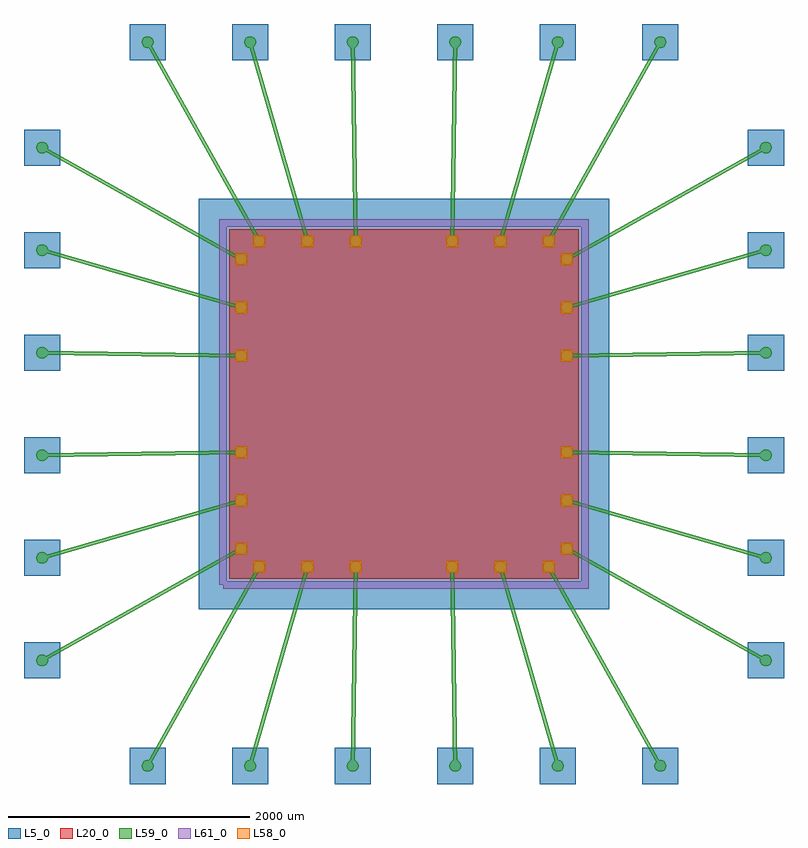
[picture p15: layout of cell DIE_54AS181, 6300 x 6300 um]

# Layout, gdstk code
import gdstk
lib = gdstk.Library(unit=1e-6, precision=1e-09)
def R(c, l, rs):  # rectangles x0, y0, x1, y1
    for r in rs: c.add(gdstk.rectangle(r[:2], r[2:], *l))
def A(c, l, x, y, w, h, nx, ny, dx, dy):  # array of equal rectangles
    R(c, l, [(x+i*dx, y+j*dy, x+i*dx+w, y+j*dy+h) for i in range(nx) for j in range(ny)])
def P(c, l, *ps):  # polygons
    for p in ps: c.add(gdstk.Polygon(p, *l))
L5_0 = (5, 0)
L20_0 = (20, 0)
L58_0 = (58, 0)
L59_0 = (59, 0)
L61_0 = (61, 0)

die_54as181 = lib.new_cell('DIE_54AS181')
A(die_54as181, L5_0, -2275, -3150, 300, 300, 6, 2, 850, 6000)
A(die_54as181, L5_0, -3150, -2275, 300, 300, 1, 6, 0, 850)
A(die_54as181, L5_0, 2850, -2275, 300, 300, 1, 6, 0, 850)
R(die_54as181, L5_0, [(-1700,-1700,1700,1700)])
R(die_54as181, L20_0, [(-1450,-1450,1450,1450)])
A(die_54as181, L58_0, -1250, -1400, 100, 100, 3, 2, 400, 2700)
A(die_54as181, L58_0, 350, -1400, 100, 100, 3, 2, 400, 2700)
A(die_54as181, L58_0, -1400, -1250, 100, 100, 1, 3, 0, 400)
A(die_54as181, L58_0, 1300, -1250, 100, 100, 1, 3, 0, 400)
A(die_54as181, L58_0, -1400, 350, 100, 100, 1, 3, 0, 400)
A(die_54as181, L58_0, 1300, 350, 100, 100, 1, 3, 0, 400)
P(die_54as181, L59_0, [(-350,1350),(-354,1369),(-365,1385),(-381,1396),(-400,1400),(-419,1396),(-435,1385),(-446,1369),(-450,1350),(-446,1331),(-435,1315),(-419,1304),(-400,1300),(-381,1304),(-365,1315),(-354,1331)],
  [(-375,3000),(-379,3019),(-390,3035),(-406,3046),(-425,3050),(-444,3046),(-460,3035),(-471,3019),(-475,3000),(-471,2981),(-460,2965),(-444,2954),(-425,2950),(-406,2954),(-390,2965),(-379,2981)],
  [(-750,1350),(-754,1369),(-765,1385),(-781,1396),(-800,1400),(-819,1396),(-835,1385),(-846,1369),(-850,1350),(-846,1331),(-835,1315),(-819,1304),(-800,1300),(-781,1304),(-765,1315),(-754,1331)],
  [(-1225,3000),(-1229,3019),(-1240,3035),(-1256,3046),(-1275,3050),(-1294,3046),(-1310,3035),(-1321,3019),(-1325,3000),(-1321,2981),(-1310,2965),(-1294,2954),(-1275,2950),(-1256,2954),(-1240,2965),(-1229,2981)],
  [(-1150,1350),(-1154,1369),(-1165,1385),(-1181,1396),(-1200,1400),(-1219,1396),(-1235,1385),(-1246,1369),(-1250,1350),(-1246,1331),(-1235,1315),(-1219,1304),(-1200,1300),(-1181,1304),(-1165,1315),(-1154,1331)],
  [(-2075,3000),(-2079,3019),(-2090,3035),(-2106,3046),(-2125,3050),(-2144,3046),(-2160,3035),(-2171,3019),(-2175,3000),(-2171,2981),(-2160,2965),(-2144,2954),(-2125,2950),(-2106,2954),(-2090,2965),(-2079,2981)],
  [(-1300,1200),(-1304,1219),(-1315,1235),(-1331,1246),(-1350,1250),(-1369,1246),(-1385,1235),(-1396,1219),(-1400,1200),(-1396,1181),(-1385,1165),(-1369,1154),(-1350,1150),(-1331,1154),(-1315,1165),(-1304,1181)],
  [(-2950,2125),(-2954,2144),(-2965,2160),(-2981,2171),(-3000,2175),(-3019,2171),(-3035,2160),(-3046,2144),(-3050,2125),(-3046,2106),(-3035,2090),(-3019,2079),(-3000,2075),(-2981,2079),(-2965,2090),(-2954,2106)],
  [(-1300,800),(-1304,819),(-1315,835),(-1331,846),(-1350,850),(-1369,846),(-1385,835),(-1396,819),(-1400,800),(-1396,781),(-1385,765),(-1369,754),(-1350,750),(-1331,754),(-1315,765),(-1304,781)],
  [(-2950,1275),(-2954,1294),(-2965,1310),(-2981,1321),(-3000,1325),(-3019,1321),(-3035,1310),(-3046,1294),(-3050,1275),(-3046,1256),(-3035,1240),(-3019,1229),(-3000,1225),(-2981,1229),(-2965,1240),(-2954,1256)],
  [(-1300,400),(-1304,419),(-1315,435),(-1331,446),(-1350,450),(-1369,446),(-1385,435),(-1396,419),(-1400,400),(-1396,381),(-1385,365),(-1369,354),(-1350,350),(-1331,354),(-1315,365),(-1304,381)],
  [(-2950,425),(-2954,444),(-2965,460),(-2981,471),(-3000,475),(-3019,471),(-3035,460),(-3046,444),(-3050,425),(-3046,406),(-3035,390),(-3019,379),(-3000,375),(-2981,379),(-2965,390),(-2954,406)],
  [(-1300,-400),(-1304,-381),(-1315,-365),(-1331,-354),(-1350,-350),(-1369,-354),(-1385,-365),(-1396,-381),(-1400,-400),(-1396,-419),(-1385,-435),(-1369,-446),(-1350,-450),(-1331,-446),(-1315,-435),(-1304,-419)],
  [(-2950,-425),(-2954,-406),(-2965,-390),(-2981,-379),(-3000,-375),(-3019,-379),(-3035,-390),(-3046,-406),(-3050,-425),(-3046,-444),(-3035,-460),(-3019,-471),(-3000,-475),(-2981,-471),(-2965,-460),(-2954,-444)],
  [(-1300,-800),(-1304,-781),(-1315,-765),(-1331,-754),(-1350,-750),(-1369,-754),(-1385,-765),(-1396,-781),(-1400,-800),(-1396,-819),(-1385,-835),(-1369,-846),(-1350,-850),(-1331,-846),(-1315,-835),(-1304,-819)],
  [(-2950,-1275),(-2954,-1256),(-2965,-1240),(-2981,-1229),(-3000,-1225),(-3019,-1229),(-3035,-1240),(-3046,-1256),(-3050,-1275),(-3046,-1294),(-3035,-1310),(-3019,-1321),(-3000,-1325),(-2981,-1321),(-2965,-1310),(-2954,-1294)],
  [(-1300,-1200),(-1304,-1181),(-1315,-1165),(-1331,-1154),(-1350,-1150),(-1369,-1154),(-1385,-1165),(-1396,-1181),(-1400,-1200),(-1396,-1219),(-1385,-1235),(-1369,-1246),(-1350,-1250),(-1331,-1246),(-1315,-1235),(-1304,-1219)],
  [(-2950,-2125),(-2954,-2106),(-2965,-2090),(-2981,-2079),(-3000,-2075),(-3019,-2079),(-3035,-2090),(-3046,-2106),(-3050,-2125),(-3046,-2144),(-3035,-2160),(-3019,-2171),(-3000,-2175),(-2981,-2171),(-2965,-2160),(-2954,-2144)],
  [(-1150,-1350),(-1154,-1331),(-1165,-1315),(-1181,-1304),(-1200,-1300),(-1219,-1304),(-1235,-1315),(-1246,-1331),(-1250,-1350),(-1246,-1369),(-1235,-1385),(-1219,-1396),(-1200,-1400),(-1181,-1396),(-1165,-1385),(-1154,-1369)],
  [(-2075,-3000),(-2079,-2981),(-2090,-2965),(-2106,-2954),(-2125,-2950),(-2144,-2954),(-2160,-2965),(-2171,-2981),(-2175,-3000),(-2171,-3019),(-2160,-3035),(-2144,-3046),(-2125,-3050),(-2106,-3046),(-2090,-3035),(-2079,-3019)],
  [(-750,-1350),(-754,-1331),(-765,-1315),(-781,-1304),(-800,-1300),(-819,-1304),(-835,-1315),(-846,-1331),(-850,-1350),(-846,-1369),(-835,-1385),(-819,-1396),(-800,-1400),(-781,-1396),(-765,-1385),(-754,-1369)],
  [(-1225,-3000),(-1229,-2981),(-1240,-2965),(-1256,-2954),(-1275,-2950),(-1294,-2954),(-1310,-2965),(-1321,-2981),(-1325,-3000),(-1321,-3019),(-1310,-3035),(-1294,-3046),(-1275,-3050),(-1256,-3046),(-1240,-3035),(-1229,-3019)],
  [(-350,-1350),(-354,-1331),(-365,-1315),(-381,-1304),(-400,-1300),(-419,-1304),(-435,-1315),(-446,-1331),(-450,-1350),(-446,-1369),(-435,-1385),(-419,-1396),(-400,-1400),(-381,-1396),(-365,-1385),(-354,-1369)],
  [(-375,-3000),(-379,-2981),(-390,-2965),(-406,-2954),(-425,-2950),(-444,-2954),(-460,-2965),(-471,-2981),(-475,-3000),(-471,-3019),(-460,-3035),(-444,-3046),(-425,-3050),(-406,-3046),(-390,-3035),(-379,-3019)],
  [(450,-1350),(446,-1331),(435,-1315),(419,-1304),(400,-1300),(381,-1304),(365,-1315),(354,-1331),(350,-1350),(354,-1369),(365,-1385),(381,-1396),(400,-1400),(419,-1396),(435,-1385),(446,-1369)],
  [(475,-3000),(471,-2981),(460,-2965),(444,-2954),(425,-2950),(406,-2954),(390,-2965),(379,-2981),(375,-3000),(379,-3019),(390,-3035),(406,-3046),(425,-3050),(444,-3046),(460,-3035),(471,-3019)],
  [(850,-1350),(846,-1331),(835,-1315),(819,-1304),(800,-1300),(781,-1304),(765,-1315),(754,-1331),(750,-1350),(754,-1369),(765,-1385),(781,-1396),(800,-1400),(819,-1396),(835,-1385),(846,-1369)],
  [(1325,-3000),(1321,-2981),(1310,-2965),(1294,-2954),(1275,-2950),(1256,-2954),(1240,-2965),(1229,-2981),(1225,-3000),(1229,-3019),(1240,-3035),(1256,-3046),(1275,-3050),(1294,-3046),(1310,-3035),(1321,-3019)],
  [(1250,-1350),(1246,-1331),(1235,-1315),(1219,-1304),(1200,-1300),(1181,-1304),(1165,-1315),(1154,-1331),(1150,-1350),(1154,-1369),(1165,-1385),(1181,-1396),(1200,-1400),(1219,-1396),(1235,-1385),(1246,-1369)],
  [(2175,-3000),(2171,-2981),(2160,-2965),(2144,-2954),(2125,-2950),(2106,-2954),(2090,-2965),(2079,-2981),(2075,-3000),(2079,-3019),(2090,-3035),(2106,-3046),(2125,-3050),(2144,-3046),(2160,-3035),(2171,-3019)],
  [(1400,-1200),(1396,-1181),(1385,-1165),(1369,-1154),(1350,-1150),(1331,-1154),(1315,-1165),(1304,-1181),(1300,-1200),(1304,-1219),(1315,-1235),(1331,-1246),(1350,-1250),(1369,-1246),(1385,-1235),(1396,-1219)],
  [(3050,-2125),(3046,-2106),(3035,-2090),(3019,-2079),(3000,-2075),(2981,-2079),(2965,-2090),(2954,-2106),(2950,-2125),(2954,-2144),(2965,-2160),(2981,-2171),(3000,-2175),(3019,-2171),(3035,-2160),(3046,-2144)],
  [(1400,-800),(1396,-781),(1385,-765),(1369,-754),(1350,-750),(1331,-754),(1315,-765),(1304,-781),(1300,-800),(1304,-819),(1315,-835),(1331,-846),(1350,-850),(1369,-846),(1385,-835),(1396,-819)],
  [(3050,-1275),(3046,-1256),(3035,-1240),(3019,-1229),(3000,-1225),(2981,-1229),(2965,-1240),(2954,-1256),(2950,-1275),(2954,-1294),(2965,-1310),(2981,-1321),(3000,-1325),(3019,-1321),(3035,-1310),(3046,-1294)],
  [(1400,-400),(1396,-381),(1385,-365),(1369,-354),(1350,-350),(1331,-354),(1315,-365),(1304,-381),(1300,-400),(1304,-419),(1315,-435),(1331,-446),(1350,-450),(1369,-446),(1385,-435),(1396,-419)],
  [(3050,-425),(3046,-406),(3035,-390),(3019,-379),(3000,-375),(2981,-379),(2965,-390),(2954,-406),(2950,-425),(2954,-444),(2965,-460),(2981,-471),(3000,-475),(3019,-471),(3035,-460),(3046,-444)],
  [(1400,400),(1396,419),(1385,435),(1369,446),(1350,450),(1331,446),(1315,435),(1304,419),(1300,400),(1304,381),(1315,365),(1331,354),(1350,350),(1369,354),(1385,365),(1396,381)],
  [(3050,425),(3046,444),(3035,460),(3019,471),(3000,475),(2981,471),(2965,460),(2954,444),(2950,425),(2954,406),(2965,390),(2981,379),(3000,375),(3019,379),(3035,390),(3046,406)],
  [(1400,800),(1396,819),(1385,835),(1369,846),(1350,850),(1331,846),(1315,835),(1304,819),(1300,800),(1304,781),(1315,765),(1331,754),(1350,750),(1369,754),(1385,765),(1396,781)],
  [(3050,1275),(3046,1294),(3035,1310),(3019,1321),(3000,1325),(2981,1321),(2965,1310),(2954,1294),(2950,1275),(2954,1256),(2965,1240),(2981,1229),(3000,1225),(3019,1229),(3035,1240),(3046,1256)],
  [(1400,1200),(1396,1219),(1385,1235),(1369,1246),(1350,1250),(1331,1246),(1315,1235),(1304,1219),(1300,1200),(1304,1181),(1315,1165),(1331,1154),(1350,1150),(1369,1154),(1385,1165),(1396,1181)],
  [(3050,2125),(3046,2144),(3035,2160),(3019,2171),(3000,2175),(2981,2171),(2965,2160),(2954,2144),(2950,2125),(2954,2106),(2965,2090),(2981,2079),(3000,2075),(3019,2079),(3035,2090),(3046,2106)],
  [(1250,1350),(1246,1369),(1235,1385),(1219,1396),(1200,1400),(1181,1396),(1165,1385),(1154,1369),(1150,1350),(1154,1331),(1165,1315),(1181,1304),(1200,1300),(1219,1304),(1235,1315),(1246,1331)],
  [(2175,3000),(2171,3019),(2160,3035),(2144,3046),(2125,3050),(2106,3046),(2090,3035),(2079,3019),(2075,3000),(2079,2981),(2090,2965),(2106,2954),(2125,2950),(2144,2954),(2160,2965),(2171,2981)],
  [(850,1350),(846,1369),(835,1385),(819,1396),(800,1400),(781,1396),(765,1385),(754,1369),(750,1350),(754,1331),(765,1315),(781,1304),(800,1300),(819,1304),(835,1315),(846,1331)],
  [(1325,3000),(1321,3019),(1310,3035),(1294,3046),(1275,3050),(1256,3046),(1240,3035),(1229,3019),(1225,3000),(1229,2981),(1240,2965),(1256,2954),(1275,2950),(1294,2954),(1310,2965),(1321,2981)],
  [(450,1350),(446,1369),(435,1385),(419,1396),(400,1400),(381,1396),(365,1385),(354,1369),(350,1350),(354,1331),(365,1315),(381,1304),(400,1300),(419,1304),(435,1315),(446,1331)],
  [(475,3000),(471,3019),(460,3035),(444,3046),(425,3050),(406,3046),(390,3035),(379,3019),(375,3000),(379,2981),(390,2965),(406,2954),(425,2950),(444,2954),(460,2965),(471,2981)])
die_54as181.add(gdstk.FlexPath([(-1500,-1500),(1500,-1500),(1500,1500),(-1500,1500),(-1500,-1500)], 60, ends="flush", simple_path=True, layer=61, datatype=0))  # L61_0
die_54as181.add(gdstk.FlexPath([(-400,1350),(-425,3000)], 30, ends="round", simple_path=True, layer=59, datatype=0))  # L59_0
die_54as181.add(gdstk.FlexPath([(-800,1350),(-1275,3000)], 30, ends="round", simple_path=True, layer=59, datatype=0))  # L59_0
die_54as181.add(gdstk.FlexPath([(-1200,1350),(-2125,3000)], 30, ends="round", simple_path=True, layer=59, datatype=0))  # L59_0
die_54as181.add(gdstk.FlexPath([(-1350,1200),(-3000,2125)], 30, ends="round", simple_path=True, layer=59, datatype=0))  # L59_0
die_54as181.add(gdstk.FlexPath([(-1350,800),(-3000,1275)], 30, ends="round", simple_path=True, layer=59, datatype=0))  # L59_0
die_54as181.add(gdstk.FlexPath([(-1350,400),(-3000,425)], 30, ends="round", simple_path=True, layer=59, datatype=0))  # L59_0
die_54as181.add(gdstk.FlexPath([(-1350,-400),(-3000,-425)], 30, ends="round", simple_path=True, layer=59, datatype=0))  # L59_0
die_54as181.add(gdstk.FlexPath([(-1350,-800),(-3000,-1275)], 30, ends="round", simple_path=True, layer=59, datatype=0))  # L59_0
die_54as181.add(gdstk.FlexPath([(-1350,-1200),(-3000,-2125)], 30, ends="round", simple_path=True, layer=59, datatype=0))  # L59_0
die_54as181.add(gdstk.FlexPath([(-1200,-1350),(-2125,-3000)], 30, ends="round", simple_path=True, layer=59, datatype=0))  # L59_0
die_54as181.add(gdstk.FlexPath([(-800,-1350),(-1275,-3000)], 30, ends="round", simple_path=True, layer=59, datatype=0))  # L59_0
die_54as181.add(gdstk.FlexPath([(-400,-1350),(-425,-3000)], 30, ends="round", simple_path=True, layer=59, datatype=0))  # L59_0
die_54as181.add(gdstk.FlexPath([(400,-1350),(425,-3000)], 30, ends="round", simple_path=True, layer=59, datatype=0))  # L59_0
die_54as181.add(gdstk.FlexPath([(800,-1350),(1275,-3000)], 30, ends="round", simple_path=True, layer=59, datatype=0))  # L59_0
die_54as181.add(gdstk.FlexPath([(1200,-1350),(2125,-3000)], 30, ends="round", simple_path=True, layer=59, datatype=0))  # L59_0
die_54as181.add(gdstk.FlexPath([(1350,-1200),(3000,-2125)], 30, ends="round", simple_path=True, layer=59, datatype=0))  # L59_0
die_54as181.add(gdstk.FlexPath([(1350,-800),(3000,-1275)], 30, ends="round", simple_path=True, layer=59, datatype=0))  # L59_0
die_54as181.add(gdstk.FlexPath([(1350,-400),(3000,-425)], 30, ends="round", simple_path=True, layer=59, datatype=0))  # L59_0
die_54as181.add(gdstk.FlexPath([(1350,400),(3000,425)], 30, ends="round", simple_path=True, layer=59, datatype=0))  # L59_0
die_54as181.add(gdstk.FlexPath([(1350,800),(3000,1275)], 30, ends="round", simple_path=True, layer=59, datatype=0))  # L59_0
die_54as181.add(gdstk.FlexPath([(1350,1200),(3000,2125)], 30, ends="round", simple_path=True, layer=59, datatype=0))  # L59_0
die_54as181.add(gdstk.FlexPath([(1200,1350),(2125,3000)], 30, ends="round", simple_path=True, layer=59, datatype=0))  # L59_0
die_54as181.add(gdstk.FlexPath([(800,1350),(1275,3000)], 30, ends="round", simple_path=True, layer=59, datatype=0))  # L59_0
die_54as181.add(gdstk.FlexPath([(400,1350),(425,3000)], 30, ends="round", simple_path=True, layer=59, datatype=0))  # L59_0

lib.write_gds('DIE_54AS181.gds')
